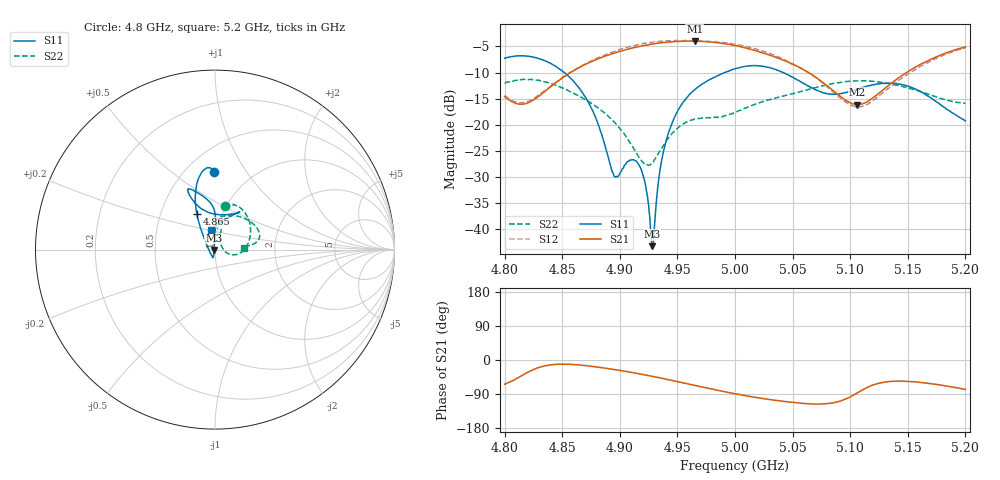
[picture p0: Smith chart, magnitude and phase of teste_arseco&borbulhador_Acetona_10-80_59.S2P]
! Network Analyzer HP8722D
! Hewlett-Packard
! Data name: Linha & Wilkinson
! Saver's name: Rodrigo Anjos
! Comments: Teste da utilização de aquisição
! continua pelo VNA HP8722D
! Time and date: 25/4/2025 15:45
!  Frequency  S11  S21  S12  S22
# HZ  S  MA R 50
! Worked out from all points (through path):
!   401 points, 4.8 GHz to 5.2 GHz, reference 50 ohm
!   highest |S21| = -3.94 dB at 4.965 GHz (marker M1); lowest = -16.1 dB at 5.106 GHz (marker M2)
!   lowest |S11| = -43.2 dB at 4.928 GHz (marker M3), VSWR 1.01, Z = 49.4 - j0.238 ohm
!   |S11| at or under -10 dB: 4.852 GHz to 4.991 GHz (139.1 MHz wide, 2.83 % of centre); 5.042 GHz to end of sweep
!   |S22| runs from -27.8 to -11.3 dB; largest |S21 - S12| = 1.2
!   S11 on the Smith chart (normalised r, x): 4.8 GHz: 0.68, +0.73; 4.865 GHz: 0.76, +0.32; 5.2 GHz: 0.94, +0.20
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4.8e9  0.4338 90.5  0.186 -64.0  0.191 69.7  0.2503 77.1
4.82e9  0.453 96.8  0.1619 -32.3  0.1673 98.3  0.272 61.8
4.845e9  0.3589 107.1  0.2557 -11.5  0.2591 119.4  0.2383 34.5
4.865e9  0.2222 116.8  0.3542 -13.0  0.3592 120.8  0.1881 10.8
4.867e9  0.2071 118.1  0.3641 -13.8  0.3682 120.6  0.1828 8.5
4.88e9  0.1099 128.5  0.4235 -18.4  0.4343 118.2  0.148 -5.5
4.895e9  0.0322 -171.6  0.4852 -24.9  0.5037 113.7  0.1064 -16.0
4.909e9  0.04599 -106.0  0.5367 -32.2  0.5626 107.6  0.06701 -14.8
4.917e9  0.0407 -102.1  0.5628 -36.4  0.5905 103.5  0.04793 -1.3
4.923e9  0.02384 -106.5  0.5792 -39.8  0.6081 99.9  0.04096 20.1
4.928e9  0.006897 -159.5  0.5916 -43.0  0.619 97.1  0.04311 41.3
4.93e9  0.01028 125.7  0.598 -44.3  0.6214 95.9  0.04626 49.0
4.934e9  0.03149 98.9  0.6043 -46.7  0.6302 93.3  0.05449 59.1
4.939e9  0.06229 92.6  0.6152 -49.9  0.6357 90.0  0.06632 66.1
4.945e9  0.1015 89.9  0.6228 -53.8  0.6392 86.2  0.08173 70.1
4.965e9  0.217 90.7  0.6352 -67.1  0.6376 73.5  0.1139 72.0
5e9  0.3442 109.0  0.5726 -89.2  0.5918 50.8  0.1312 88.3
5.031e9  0.3496 114.9  0.4614 -104.7  0.479 33.3  0.1754 84.5
5.067e9  0.2252 105.1  0.3016 -115.9  0.2982 23.5  0.2228 56.9
5.106e9  0.2199 64.1  0.1564 -87.0  0.1487 56.0  0.2632 24.7
5.134e9  0.2506 56.9  0.2417 -56.6  0.2273 88.7  0.2479 12.3
5.2e9  0.1091 100.3  0.5566 -77.5  0.5456 70.0  0.1609 3.8
